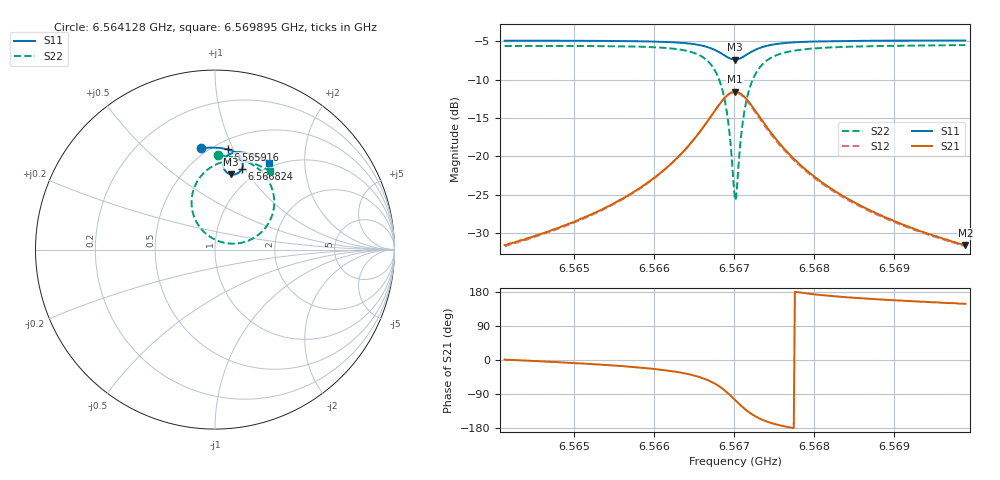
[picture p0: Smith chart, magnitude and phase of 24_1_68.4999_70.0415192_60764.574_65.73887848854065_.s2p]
#  HZ  S  RI  R  50.00
! Rohde & Schwarz Vector Network Analyzer
! Rohde-Schwarz,ZNB20-2Port,1311601062101988,3.16
! Created: UTC 3/20/2024, 5:04:47 PM
! freq[Hz]  re:S11  im:S11  re:S21  im:S21  re:S12  im:S12  re:S22  im:S22
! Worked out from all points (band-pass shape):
!   401 points, 6.564128 GHz to 6.569895 GHz, reference 50 ohm
!   highest |S21| = -11.56 dB at 6.567011 GHz (marker M1); lowest = -31.6 dB at 6.569895 GHz (marker M2)
!   |S21| within 3 dB of the highest: 6.566724 GHz to 6.5673 GHz (576.6 kHz wide, 0.00878 % of centre)
!   lowest |S11| = -7.4 dB at 6.567011 GHz (marker M3), VSWR 2.50, Z = 40.6 + j41.7 ohm
!   |S11| at or under -10 dB: nowhere
!   |S22| runs from -25.7 to -5.5 dB; largest |S21 - S12| = 0.012
!   S11 on the Smith chart (normalised r, x): 6.564128 GHz: 0.46, +0.76; 6.565916 GHz: 0.58, +0.95; 6.566824 GHz: 0.84, +0.97; 6.569895 GHz: 0.93, +1.34
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6.5641278e9  -0.0804 0.5634  0.0265 0.000539  0.026 -6.55e-05  0.0186 0.5247
6.5650938e9  -0.0023 0.5679  0.039 -0.00629  0.0383 -0.00696  0.1073 0.5139
6.5659157e9  0.072 0.5582  0.0625 -0.025  0.0615 -0.0257  0.2066 0.4748
6.5660598e9  0.0867 0.5536  0.0695 -0.0325  0.0685 -0.0332  0.2292 0.4597
6.5663626e9  0.1203 0.5368  0.0885 -0.0607  0.0871 -0.0619  0.2847 0.4038
6.5665789e9  0.1449 0.5112  0.1023 -0.105  0.1 -0.1071  0.3238 0.3179
6.5667231e9  0.1551 0.4804  0.0985 -0.1586  0.0947 -0.1616  0.3249 0.2157
6.566824e9  0.1499 0.451  0.0724 -0.2091  0.0661 -0.2119  0.2802 0.1208
6.5669105e9  0.1296 0.427  0.0206 -0.2484  0.0111 -0.2491  0.1864 0.0501
6.5669393e9  0.1191 0.4218  -0.00328 -0.2561  -0.0135 -0.2554  0.1433 0.0371
6.566997e9  0.0947 0.4184  -0.0562 -0.2578  -0.0668 -0.2534  0.0492 0.0386
6.5670114e9  0.0886 0.4193  -0.0695 -0.2548  -0.08 -0.2496  0.0259 0.045
6.5670403e9  0.0765 0.4233  -0.095 -0.2453  -0.1045 -0.2382  -0.0175 0.0649
6.5670979e9  0.0574 0.4383  -0.1363 -0.2135  -0.1431 -0.2038  -0.0851 0.1257
6.5671412e9  0.0487 0.453  -0.1564 -0.1835  -0.1607 -0.1734  -0.1153 0.1802
6.5671989e9  0.0448 0.4733  -0.1693 -0.1434  -0.1705 -0.1338  -0.1303 0.2514
6.5672709e9  0.0487 0.4953  -0.1691 -0.1007  -0.1681 -0.0924  -0.122 0.3258
6.5675305e9  0.0877 0.5343  -0.1269 -0.0219  -0.1239 -0.0182  -0.026 0.4567
6.5679774e9  0.1463 0.5421  -0.0753 0.00792  -0.0735 0.00916  0.0949 0.4966
6.5683811e9  0.1863 0.535  -0.0529 0.0131  -0.0518 0.0137  0.16 0.4933
6.5689434e9  0.2334 0.5193  -0.0364 0.0145  -0.0356 0.0146  0.224 0.4764
6.569895e9  0.3024 0.4844  -0.0223 0.0139  -0.022 0.0139  0.3038 0.4376
